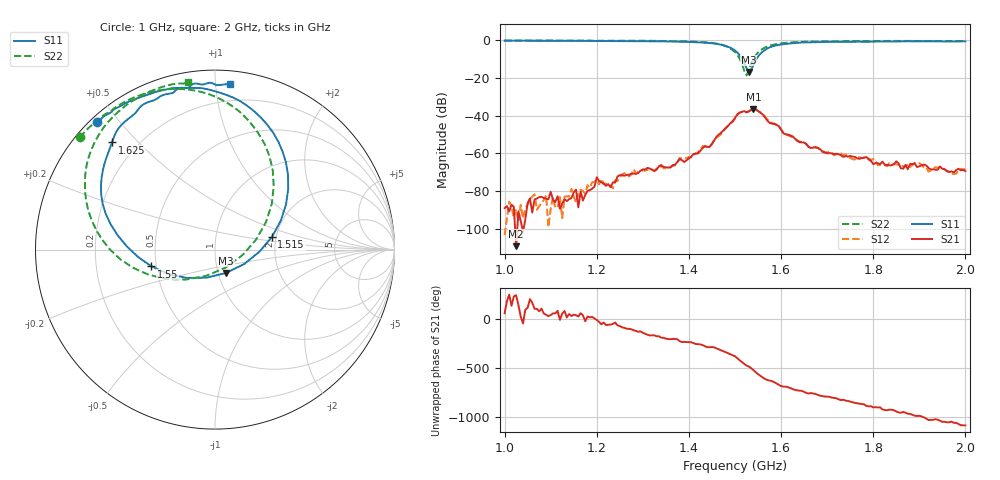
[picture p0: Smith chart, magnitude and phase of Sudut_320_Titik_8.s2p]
# Hz S RI R 50
! CMT, C1220, 16058040, 17.2.0/1
! Date: 14/08/2018 12:09:07
! Data: Format (Calibration Info)
! Freq  S11: Re/Im (F2)  S21: Re/Im (F2)  S12: Re/Im (F2)  S22: Re/Im (F2)
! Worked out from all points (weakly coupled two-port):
!   201 points, 1 GHz to 2 GHz, reference 50 ohm
!   highest |S21| = -36.54 dB at 1.54 GHz (marker M1); lowest = -109.2 dB at 1.025 GHz (marker M2)
!   lowest |S11| = -16.8 dB at 1.53 GHz (marker M3), VSWR 1.34, Z = 54.6 - j14.5 ohm
!   |S11| at or under -10 dB: 1.515 GHz to 1.547 GHz (31.15 MHz wide, 2.03 % of centre)
!   |S22| runs from -18.7 to -0.2 dB; largest |S21 - S12| = 0.00063
!   S11 on the Smith chart (normalised r, x): 1 GHz: 0.02, +0.44; 1.515 GHz: 1.90, +0.30; 1.55 GHz: 0.47, -0.10; 1.625 GHz: 0.11, +0.42; 2 GHz: 0.09, +1.09
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1e9  -0.6547 0.7098  2.11e-05 2.84e-05  6.84e-06 -6.05e-07  -0.7535 0.6256
1.025e9  -0.6332 0.7287  -1.9e-06 -2.91e-06  -3.01e-05 -1.38e-05  -0.7366 0.6446
1.17e9  -0.487 0.8217  4.68e-05 3.08e-05  9.33e-05 3.55e-05  -0.6163 0.7515
1.195e9  -0.4505 0.8355  0.000131 5.23e-06  0.000178 -1.8e-05  -0.5867 0.7648
1.2e9  -0.4456 0.8368  0.000225 -5.62e-05  0.000159 -9.83e-05  -0.5824 0.765
1.23e9  -0.4082 0.8514  6.13e-05 -0.00011  2.03e-06 -0.000141  -0.5603 0.7884
1.25e9  -0.3701 0.8644  6.9e-05 -0.000256  9.02e-05 -0.000219  -0.5355 0.8048
1.335e9  -0.2301 0.8999  -0.000457 -1.02e-05  -0.000438 9.95e-05  -0.3997 0.8661
1.355e9  -0.1751 0.901  -0.000373 0.000193  -0.00037 0.000136  -0.3557 0.8786
1.445e9  0.1461 0.8236  0.000496 0.00139  0.000586 0.00141  -0.00743 0.8557
1.5e9  0.4079 0.338  0.00807 -0.00324  0.00755 -0.00308  0.3273 0.3525
1.515e9  0.317 0.0701  0.00238 -0.0123  0.00269 -0.0123  0.2294 0.0564
1.525e9  0.1624 -0.0806  -0.00512 -0.011  -0.00511 -0.0112  0.0585 -0.1005
1.53e9  0.062 -0.13  -0.00731 -0.0107  -0.00736 -0.0108  -0.0504 -0.1466
1.54e9  -0.1552 -0.1582  -0.0141 -0.00486  -0.0139 -0.00489  -0.274 -0.1636
1.55e9  -0.3542 -0.0936  -0.0123 0.00495  -0.0125 0.0045  -0.4589 -0.1
1.58e9  -0.6261 0.2564  0.000309 0.00611  0.00059 0.00636  -0.7052 0.2161
1.625e9  -0.5734 0.5969  0.0028 0.000334  0.00266 0.000382  -0.7016 0.5209
1.67e9  -0.4627 0.7441  0.00111 -0.000883  0.00117 -0.000894  -0.6249 0.6735
1.835e9  -0.1613 0.8993  -0.000448 0.000172  -0.000511 0.000202  -0.3753 0.8749
1.975e9  0.0457 0.9192  0.000282 0.00013  0.000256 0.000125  -0.1782 0.9247
2e9  0.0853 0.9213  0.000339 -7.97e-06  0.000383 -2.79e-05  -0.1507 0.9335
